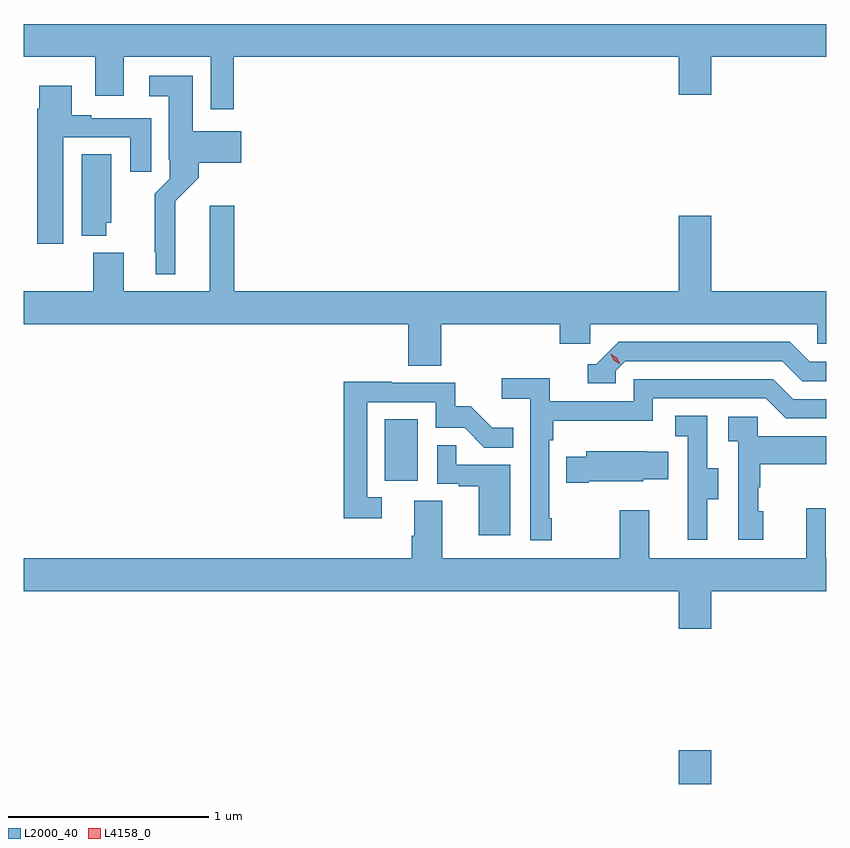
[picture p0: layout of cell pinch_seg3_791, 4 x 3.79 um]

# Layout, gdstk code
import gdstk
lib = gdstk.Library(unit=1e-6, precision=1e-09)
def R(c, l, rs):  # rectangles x0, y0, x1, y1
    for r in rs: c.add(gdstk.rectangle(r[:2], r[2:], *l))
def P(c, l, *ps):  # polygons
    for p in ps: c.add(gdstk.Polygon(p, *l))
L2000_40 = (2000, 40)
L4158_0 = (4158, 0)

pinch_seg3_791 = lib.new_cell('pinch_seg3_791')
R(pinch_seg3_791, L2000_40, [(836.336,709.279,836.5,709.447), (834.872,710.79,835.036,711.097)])
P(pinch_seg3_791, L2000_40, [(834.119,712.904),(836.336,712.904),(836.336,712.716),(836.5,712.716),(836.5,712.904),(837.072,712.904),(837.072,713.068),(833.072,713.068),(833.072,712.904),(833.429,712.904),(833.429,712.71),(833.569,712.71),(833.569,712.904),(834.003,712.904),(834.003,712.644),(834.119,712.644)],
  [(833.827,712.184),(833.945,712.302),(833.945,712.376),(834.157,712.376),(834.157,712.534),(833.914,712.534),(833.914,712.81),(833.697,712.81),(833.697,712.709),(833.795,712.709),(833.795,712.39),(833.799,712.39),(833.799,712.296),(833.725,712.222),(833.725,711.931),(833.729,711.931),(833.729,711.821),(833.827,711.821)],
  [(833.269,712.503),(833.603,712.503),(833.603,712.332),(833.707,712.332),(833.707,712.599),(833.407,712.599),(833.407,712.612),(833.311,712.612),(833.311,712.759),(833.15,712.759),(833.15,712.646),(833.138,712.646),(833.138,711.972),(833.269,711.972)],
  [(833.482,712.077),(833.509,712.077),(833.509,712.418),(833.36,712.418),(833.36,712.013),(833.482,712.013)],
  [(835.154,711.572),(835.745,711.572),(835.745,711.474),(835.896,711.474),(835.896,711.572),(837.027,711.572),(837.027,711.474),(837.072,711.474),(837.072,711.736),(836.5,711.736),(836.5,712.111),(836.336,712.111),(836.336,711.736),(834.122,711.736),(834.122,712.162),(833.999,712.162),(833.999,711.736),(833.569,711.736),(833.569,711.928),(833.417,711.928),(833.417,711.736),(833.072,711.736),(833.072,711.572),(834.989,711.572),(834.989,711.364),(835.154,711.364)],
  [(836.022,711.339),(836.07,711.387),(836.853,711.387),(836.952,711.288),(837.072,711.288),(837.072,711.384),(836.989,711.384),(836.89,711.483),(836.037,711.483),(835.926,711.372),(835.883,711.372),(835.883,711.276),(836.022,711.276)],
  [(835.705,710.605),(835.692,710.605),(835.692,710.993),(835.712,710.993),(835.712,711.089),(836.208,711.089),(836.208,711.201),(836.772,711.201),(836.871,711.102),(837.072,711.102),(837.072,711.198),(836.908,711.198),(836.809,711.297),(836.112,711.297),(836.112,711.186),(835.694,711.186),(835.694,711.302),(835.455,711.302),(835.455,711.2),(835.596,711.2),(835.596,710.493),(835.705,710.493)],
  [(834.856,710.709),(834.783,710.709),(834.783,711.183),(835.125,711.183),(835.125,711.054),(835.269,711.054),(835.367,710.956),(835.511,710.956),(835.511,711.055),(835.407,711.055),(835.3,711.162),(835.224,711.162),(835.224,711.279),(834.905,711.279),(834.905,711.284),(834.667,711.284),(834.667,710.604),(834.856,710.604)],
  [(836.479,710.698),(836.533,710.698),(836.533,710.853),(836.478,710.853),(836.478,711.116),(836.319,711.116),(836.319,711.013),(836.382,711.013),(836.382,710.709),(836.381,710.709),(836.381,710.496),(836.479,710.496)],
  [(836.758,710.64),(836.733,710.64),(836.733,710.759),(836.743,710.759),(836.743,710.873),(837.072,710.873),(837.072,711.013),(836.73,711.013),(836.73,711.111),(836.583,711.111),(836.583,710.987),(836.634,710.987),(836.634,710.496),(836.758,710.496)],
  [(835.498,710.871),(835.229,710.871),(835.229,710.969),(835.134,710.969),(835.134,710.775),(835.241,710.775),(835.241,710.763),(835.34,710.763),(835.34,710.52),(835.498,710.52)],
  [(835.888,710.789),(836.16,710.789),(836.16,710.798),(836.285,710.798),(836.285,710.935),(836.177,710.935),(836.177,710.938),(835.875,710.938),(835.875,710.911),(835.777,710.911),(835.777,710.782),(835.888,710.782)],
  [(836.5,710.24),(837.072,710.24),(837.072,710.404),(837.069,710.404),(837.069,710.653),(836.972,710.653),(836.972,710.404),(836.191,710.404),(836.191,710.644),(836.044,710.644),(836.044,710.404),(835.159,710.404),(835.159,710.69),(835.019,710.69),(835.019,710.516),(835.007,710.516),(835.007,710.404),(833.072,710.404),(833.072,710.24),(836.336,710.24),(836.336,710.052),(836.5,710.052)])
P(pinch_seg3_791, L4158_0, [(836.045,711.372),(836.014,711.392),(835.998,711.424),(835.998,711.425),(835.999,711.425),(836.029,711.405),(836.045,711.372),(836.045,711.372)])

lib.write_gds('pinch_seg3_791.gds')
